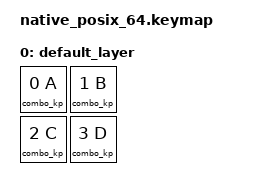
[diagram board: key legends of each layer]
#include <dt-bindings/zmk/keys.h>
#include <behaviors.dtsi>
#include <dt-bindings/zmk/kscan_mock.h>

#define kA 0
#define kB 1
#define kC 2
#define kD 3

/ {
    combos {
        compatible = "zmk,combos";

        // Intentionally out of order in the config, to make sure 'combo.c' handles it properly
        combo_40 {
            timeout-ms = <40>;
            triggers = <kA kD>;
            bindings = <&kp Z>;
        };
        combo_20 {
            timeout-ms = <20>;
            triggers = <kA kB>;
            bindings = <&kp X>;
        };
        combo_30 {
            timeout-ms = <30>;
            triggers = <kA kC>;
            bindings = <&kp Y>;
        };

    };

    keymap {
        compatible = "zmk,keymap";

        default_layer {
            bindings = <
                &combo_kp 0 A &combo_kp 1 B
                &combo_kp 2 C &combo_kp 3 D
            >;
        };
    };
};

#define press_A_and_wait(delay_next) \
    ZMK_MOCK_PRESS(0,0,delay_next)
#define press_B_and_wait(delay_next) \
    ZMK_MOCK_PRESS(0,1,delay_next)
#define press_C_and_wait(delay_next) \
    ZMK_MOCK_PRESS(1,0,delay_next)
#define press_D_and_wait(delay_next) \
    ZMK_MOCK_PRESS(1,1,delay_next)

#define release_A_and_wait(delay_next) \
    ZMK_MOCK_RELEASE(0,0,delay_next)
#define release_D_and_wait(delay_next) \
    ZMK_MOCK_RELEASE(1,1,delay_next)

&kscan {
    events = <
        /* Note: This starts at T+50 because the ZMK_MOCK_PRESS seems to launch the first event at T+(first wait duration). So in our case T+50 */



        /*** First Phase: All 3 combos expire ***/

        /* T+50+0=    T+50: Press A and wait 50ms */
        press_A_and_wait(50)

        /* T+50+20=   T+70: 'combo_20' should expire */
        /* T+50+30=   T+80: 'combo_30' should expire */
        /* T+50+40=   T+90: 'combo_40' should expire, and we should send the keycode 'A' */

        /* T+50+50=  T+100: We release A and wait 20ms */
        release_A_and_wait(20)



        /*** Second Phase: 2 combo expire, 1 combo triggers ***/

        /* T+120+0=  T+120: Press A and wait 35ms */
        press_A_and_wait(35)

        /* T+120+20= T+140: 'combo_20' should expire */
        /* T+120+30= T+150: 'combo_30' should expire */

        /* T+120+35= T+155: We press 'D', this should trigger 'combo_40' and send the keycode 'Z'. We wait 15ms */
        press_D_and_wait(15)



        /*** Cleanup ***/
        /* T+120+50= T+170: We release both keys */
        release_A_and_wait(20)
        release_D_and_wait(0)
    >;
};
